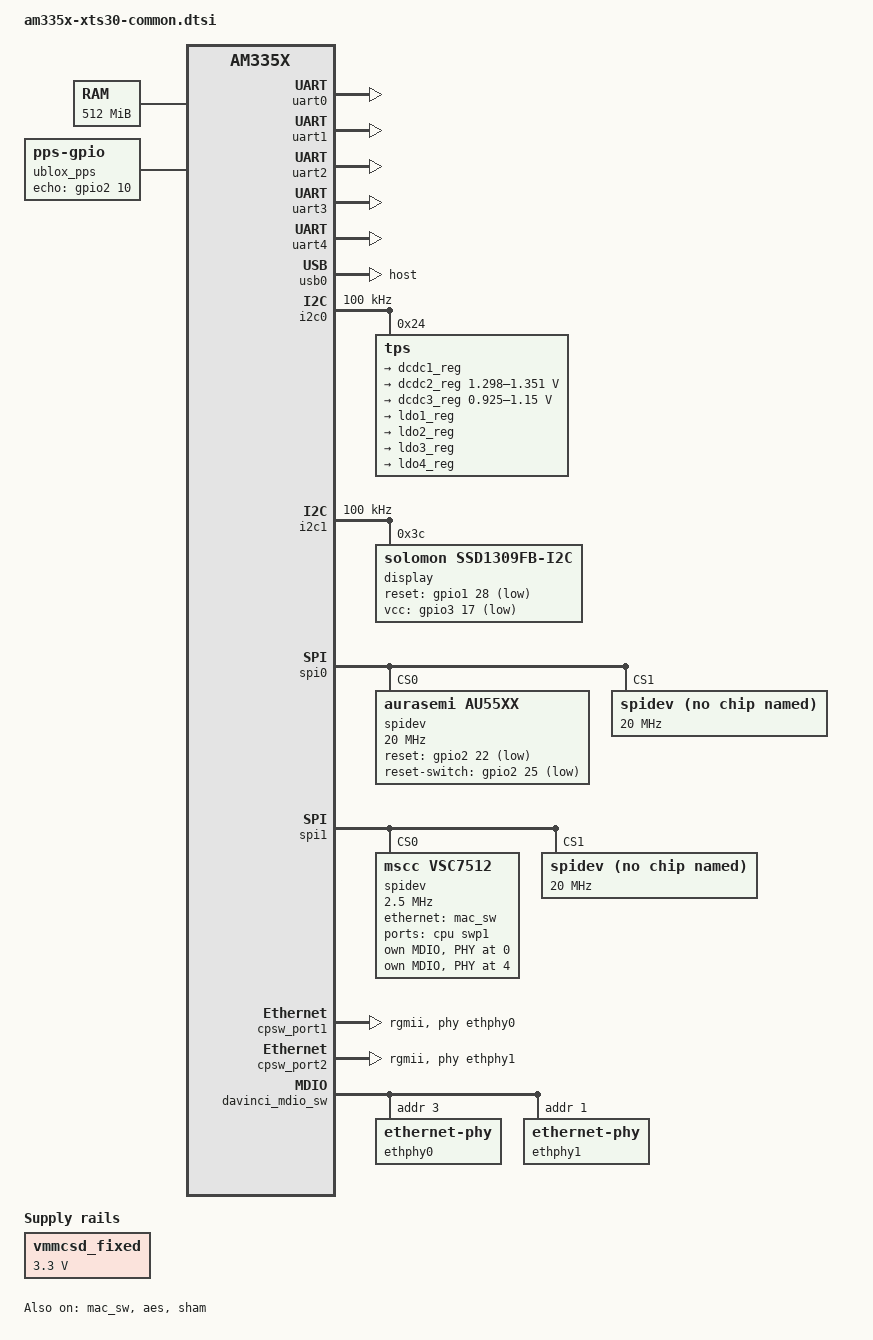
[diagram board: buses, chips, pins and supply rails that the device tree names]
// SPDX-License-Identifier: GPL-2.0-only
/*
 * Copyright (C) 2012 Texas Instruments Incorporated - https://www.ti.com/
 */

/ {
	cpus {
		cpu@0 {
			cpu0-supply = <&dcdc2_reg>;
		};
	};

	memory@80000000 {
		device_type = "memory";
		reg = <0x80000000 0x20000000>; /* 512 MB */
	};

	chosen {
		stdout-path = &uart0;
	};

    ocelot_clock: ocelot-clock {
          compatible = "fixed-clock";
          #clock-cells = <0>;
          clock-frequency = <125000000>;
      };
	  
	vmmcsd_fixed: fixedregulator0 {
		compatible = "regulator-fixed";
		regulator-name = "vmmcsd_fixed";
		regulator-min-microvolt = <3300000>;
		regulator-max-microvolt = <3300000>;
	};
	
	ublox_pps {
		compatible = "pps-gpio";
		pinctrl-names = "default";
		pinctrl-0 = <&pinctrl_pps>;
		echo-gpios = <&gpio2 10 GPIO_ACTIVE_HIGH>;
		status = "okay";
	};
	
#if 0
    ethernet-switch@800000 {
            compatible = "mscc,vsc7512-switch";
            reg = <0x800000 0x290000>;
            little-endian;
            #address-cells = <1>;
            #size-cells = <0>;
				
            ports {
                #address-cells = <1>;
                #size-cells = <0>;
					port@0 {
						reg = <0x0>;
						label = "swp0";
					phy-mode = "internal";
					fixed-link {
						speed = <1000>;
						full-duplex;
						pause;
					};
					};

					port@1 {
						reg = <0x1>;
						label = "swp1";
					phy-mode = "internal";
					fixed-link {
						speed = <1000>;
						full-duplex;
						pause;
					};
					};

					port@2 {
						reg = <0x2>;
						label = "swp2";
					phy-mode = "internal";
					fixed-link {
						speed = <1000>;
						full-duplex;
						pause;
					};
					};

					port@3 {
						reg = <0x3>;
						label = "swp3";
						phy-mode = "internal";
						fixed-link {
							speed = <1000>;
							full-duplex;
							pause;
						};
					};

					port@4 {
						reg = <0x4>;
						label = "swp4";
						phy-mode = "internal";
						fixed-link {
							speed = <1000>;
							full-duplex;
							pause;
						};
					};

					port@5 {
						reg = <0x5>;
						label = "swp5";
						phy-mode = "internal";
						fixed-link {
							speed = <1000>;
							full-duplex;
							pause;
						};
					};

					port@6 {
						reg = <0x6>;
						label = "swp6";
						phy-mode = "internal";
						fixed-link {
							speed = <1000>;
							full-duplex;
							pause;
						};
					};

					port@7 {
						reg = <0x7>;
						label = "swp7";
						phy-mode = "internal";
						fixed-link {
							speed = <1000>;
							full-duplex;
							pause;
						};
					};

					port@8 {
						reg = <0x8>;
						phy-mode = "internal";
						ethernet = <&mac_sw>;

						fixed-link {
							speed = <2500>;
							full-duplex;
						};
					};

					port@9 {
						reg = <0x9>;
						phy-mode = "internal";
						status = "disabled";

						fixed-link {
							speed = <2500>;
							full-duplex;
						};
					};

			};
    };
#endif
#if 0
	ethernet-switch@0 {
		compatible = "mscc,vsc7512-switch";
		ports {
			#address-cells = <1>;
			#size-cells = <0>;
			port@0 {
				reg = <0>;
				label = "cpu";
				status = "okay";
				ethernet = <&mac_sw>;
				phy-handle = <&sw_phy0>;
				phy-mode = "internal";
			};
		port@1 {
				reg = <1>;
				label = "swp1";
				status = "okay";
				//phy-handle = <&sw_phy1>;
				phy-mode = "internal";
				};

		};
	};
#endif


};

&am33xx_pinmux {
	pinctrl-names = "default";
	
	pinctrl_pps: pinmux_pps_pin {
		pinctrl-single,pins = <
			AM33XX_PADCONF(0x908, PIN_INPUT_PULLUP ,MUX_MODE7)	/* xdma_event_intr1.clkout2 */
		>;
	};
	pinctrl_oled: pinctrl_oled {
		pinctrl-single,pins = <
			AM33XX_PADCONF(0x878, PIN_OUTPUT_PULLDOWN ,MUX_MODE7)	/* xdma_event_intr1.clkout2 */
		>;
	};
	i2c0_pins: pinmux_i2c0_pins {
		pinctrl-single,pins = <
			AM33XX_PADCONF(AM335X_PIN_I2C0_SDA, PIN_INPUT_PULLUP, MUX_MODE0)	/* i2c0_sda.i2c0_sda */
			AM33XX_PADCONF(AM335X_PIN_I2C0_SCL, PIN_INPUT_PULLUP, MUX_MODE0)	/* i2c0_scl.i2c0_scl */
		>;
	};

	i2c1_pins: pinmux_i2c1_pins {
		pinctrl-single,pins = <
			AM33XX_PADCONF(AM335X_PIN_MII1_CRS, PIN_INPUT_PULLUP, MUX_MODE3)	/* (H17) gmii1_crs.I2C1_SDA */
			AM33XX_PADCONF(AM335X_PIN_MII1_RX_ER, PIN_INPUT_PULLUP, MUX_MODE3)	/* (J15) gmii1_rxer.I2C1_SCL */
		>;
	};

	uart0_pins: pinmux_uart0_pins {
		pinctrl-single,pins = <
			AM33XX_PADCONF(AM335X_PIN_UART0_RXD, PIN_INPUT_PULLUP, MUX_MODE0)
			AM33XX_PADCONF(AM335X_PIN_UART0_TXD, PIN_OUTPUT_PULLDOWN, MUX_MODE0)
		>;
	};
	
	uart1_pins: pinmux_uart1_pins {
		pinctrl-single,pins = <
			AM33XX_PADCONF(AM335X_PIN_UART1_RXD, PIN_INPUT_PULLUP, MUX_MODE0)              /* (D16) uart1_rxd.uart1_rxd */
			AM33XX_PADCONF(AM335X_PIN_UART1_TXD, PIN_OUTPUT_PULLDOWN, MUX_MODE0)           /* (D15) uart1_txd.uart1_txd */
		>;
	};

	uart2_pins: pinmux_uart2_pins {
		pinctrl-single,pins = <
			AM33XX_PADCONF(AM335X_PIN_MMC0_CLK, PIN_INPUT_PULLUP, MUX_MODE3)                /* (G17) mmc0_clk.uart2_rxd */
			AM33XX_PADCONF(AM335X_PIN_MMC0_CMD, PIN_OUTPUT_PULLDOWN, MUX_MODE3)             /* (G18) mmc0_cmd.uart2_txd */
		>;
	};
	
	uart3_pins: pinmux_uart3_pins {
		pinctrl-single,pins = <
			AM33XX_PADCONF(AM335X_PIN_MMC0_DAT1, PIN_INPUT_PULLUP, MUX_MODE3)              /* (G15) mmc0_dat1.uart3_rxd */
			AM33XX_PADCONF(AM335X_PIN_MMC0_DAT0, PIN_OUTPUT_PULLDOWN, MUX_MODE3)           /* (G16) mmc0_dat0.uart3_txd */
		>;
	};
	
	uart4_pins: pinmux_uart4_pins {
		pinctrl-single,pins = <
			AM33XX_PADCONF(AM335X_PIN_GPMC_WAIT0, PIN_INPUT_PULLUP, MUX_MODE6)
			AM33XX_PADCONF(AM335X_PIN_GPMC_WPN, PIN_OUTPUT_PULLDOWN, MUX_MODE6)
		>;
	};
	
	spi0_pins: spi0_pins {
		pinctrl-single,pins = <
			AM33XX_PADCONF(0x950, PIN_INPUT, MUX_MODE0) /* (A17) spi0_sclk.spi0_sclk */
			AM33XX_PADCONF(0x954, PIN_INPUT, MUX_MODE0) /* (B17) spi0_d0.spi0_d0 */
			AM33XX_PADCONF(0x958, PIN_INPUT, MUX_MODE0) /* (B16) spi0_d1.spi0_d1 */
			AM33XX_PADCONF(0x95c, PIN_INPUT, MUX_MODE0) /* (A16) spi0_cs0.spi0_cs0 */
			AM33XX_PADCONF(0x960, PIN_INPUT, MUX_MODE0) /* (C15) spi0_cs1.spi0_cs1 */
		>;
	};

	spi1_pins: spi1_pins {
		pinctrl-single,pins = <
			AM33XX_PADCONF(0x964, PIN_INPUT, MUX_MODE4) /* (C18) eCAP0_in_PWM0_out.spi1_sclk */
			AM33XX_PADCONF(0x968, PIN_INPUT, MUX_MODE4) /* (E18) uart0_ctsn.spi1_d0 */
			AM33XX_PADCONF(0x96c, PIN_INPUT, MUX_MODE4) /* (E17) uart0_rtsn.spi1_d1 */
			AM33XX_PADCONF(0x978, PIN_INPUT, MUX_MODE4) /* (D18) uart1_ctsn.spi1_cs0 */
			AM33XX_PADCONF(0x97c, PIN_INPUT, MUX_MODE4)	/* (D17) uart1_rtsn.spi1_cs1 */
		>;
	};
	
	
	cpsw_default: cpsw_default {
		pinctrl-single,pins = <
			/* Slave 1 */
			AM33XX_PADCONF(AM335X_PIN_MII1_TX_EN, PIN_OUTPUT_PULLDOWN, MUX_MODE2)                   /* (J16) gmii1_txen.rgmii1_tctl */
			AM33XX_PADCONF(AM335X_PIN_MII1_RX_DV, PIN_INPUT_PULLUP, MUX_MODE2)                /* (J17) gmii1_rxdv.rgmii1_rctl */
			AM33XX_PADCONF(AM335X_PIN_MII1_TX_CLK, PIN_OUTPUT_PULLDOWN, MUX_MODE2)               /* (K18) gmii1_txclk.rgmii1_tclk */
			AM33XX_PADCONF(AM335X_PIN_MII1_RX_CLK, PIN_INPUT_PULLUP, MUX_MODE2)               /* (L18) gmii1_rxclk.rgmii1_rclk */
			AM33XX_PADCONF(AM335X_PIN_MII1_TXD0, PIN_OUTPUT_PULLDOWN, MUX_MODE2)                 /* (K17) gmii1_txd0.rgmii1_td0 */
			AM33XX_PADCONF(AM335X_PIN_MII1_TXD1, PIN_OUTPUT_PULLDOWN, MUX_MODE2)                 /* (K16) gmii1_txd1.rgmii1_td1 */
			AM33XX_PADCONF(AM335X_PIN_MII1_TXD2, PIN_OUTPUT_PULLDOWN, MUX_MODE2)                    /* (K15) gmii1_txd2.rgmii1_td2 */
			AM33XX_PADCONF(AM335X_PIN_MII1_TXD3, PIN_OUTPUT_PULLDOWN, MUX_MODE2)                    /* (J18) gmii1_txd3.rgmii1_td3 */
			AM33XX_PADCONF(AM335X_PIN_MII1_RXD0, PIN_INPUT_PULLUP, MUX_MODE2)                    /* (M16) gmii1_rxd0.rgmii1_rd0 */
			AM33XX_PADCONF(AM335X_PIN_MII1_RXD1, PIN_INPUT_PULLUP, MUX_MODE2)                    /* (L15) gmii1_rxd1.rgmii1_rd1 */
			AM33XX_PADCONF(AM335X_PIN_MII1_RXD2, PIN_INPUT_PULLUP, MUX_MODE2)                    /* (L16) gmii1_rxd2.rgmii1_rd2 */
			AM33XX_PADCONF(AM335X_PIN_MII1_RXD3, PIN_INPUT_PULLUP, MUX_MODE2)                    /* (L17) gmii1_rxd3.rgmii1_rd3 */
			
			/* Slave 2 */
			AM33XX_PADCONF(AM335X_PIN_GPMC_A0, PIN_OUTPUT_PULLDOWN, MUX_MODE2)                   /* (R13) gpmc_a0.rgmii2_tctl */
			AM33XX_PADCONF(AM335X_PIN_GPMC_A1, PIN_INPUT_PULLUP, MUX_MODE2)                      /* (V14) gpmc_a1.rgmii2_rctl */
			AM33XX_PADCONF(AM335X_PIN_GPMC_A6, PIN_OUTPUT_PULLDOWN, MUX_MODE2)               /* (U15) gpmc_a6.rgmii2_tclk */
			AM33XX_PADCONF(AM335X_PIN_GPMC_A7, PIN_INPUT_PULLUP, MUX_MODE2)               /* (T15) gpmc_a7.rgmii2_rclk */
			AM33XX_PADCONF(AM335X_PIN_GPMC_A5, PIN_OUTPUT_PULLDOWN, MUX_MODE2)                /* (V15) gpmc_a5.rgmii2_td0 */
			AM33XX_PADCONF(AM335X_PIN_GPMC_A4, PIN_OUTPUT_PULLDOWN, MUX_MODE2)                 /* (R14) gpmc_a4.rgmii2_td1 */
			AM33XX_PADCONF(AM335X_PIN_GPMC_A3, PIN_OUTPUT_PULLDOWN, MUX_MODE2)                    /* (T14) gpmc_a3.rgmii2_td2 */
			AM33XX_PADCONF(AM335X_PIN_GPMC_A2, PIN_OUTPUT_PULLDOWN, MUX_MODE2)                    /* (U14) gpmc_a2.rgmii2_td3 */
			AM33XX_PADCONF(AM335X_PIN_GPMC_A11, PIN_INPUT_PULLUP, MUX_MODE2)                    /* (V17) gpmc_a11.rgmii2_rd0 */
			AM33XX_PADCONF(AM335X_PIN_GPMC_A10, PIN_INPUT_PULLUP, MUX_MODE2)                    /* (T16) gpmc_a10.rgmii2_rd1 */
			AM33XX_PADCONF(AM335X_PIN_GPMC_A9, PIN_INPUT_PULLUP, MUX_MODE2)                    /* (U16) gpmc_a9.rgmii2_rd2 */
			AM33XX_PADCONF(AM335X_PIN_GPMC_A8, PIN_INPUT_PULLUP, MUX_MODE2)                    /* (V16) gpmc_a8.rgmii2_rd3 */
		>;
	};

	cpsw_sleep: cpsw_sleep {
		pinctrl-single,pins = <
			/* Slave 1 */
			AM33XX_PADCONF(AM335X_PIN_MII1_TX_EN, PIN_INPUT_PULLDOWN, MUX_MODE7)                   /* (J16) gmii1_txen.rgmii1_tctl */
			AM33XX_PADCONF(AM335X_PIN_MII1_RX_DV, PIN_INPUT_PULLDOWN, MUX_MODE7)                /* (J17) gmii1_rxdv.rgmii1_rctl */
			AM33XX_PADCONF(AM335X_PIN_MII1_TX_CLK, PIN_INPUT_PULLDOWN, MUX_MODE7)               /* (K18) gmii1_txclk.rgmii1_tclk */
			AM33XX_PADCONF(AM335X_PIN_MII1_RX_CLK, PIN_INPUT_PULLDOWN, MUX_MODE7)               /* (L18) gmii1_rxclk.rgmii1_rclk */
			AM33XX_PADCONF(AM335X_PIN_MII1_TXD0, PIN_INPUT_PULLDOWN, MUX_MODE7)                 /* (K17) gmii1_txd0.rgmii1_td0 */
			AM33XX_PADCONF(AM335X_PIN_MII1_TXD1, PIN_INPUT_PULLDOWN, MUX_MODE7)                 /* (K16) gmii1_txd1.rgmii1_td1 */
			AM33XX_PADCONF(AM335X_PIN_MII1_TXD2, PIN_INPUT_PULLDOWN, MUX_MODE7)                    /* (K15) gmii1_txd2.rgmii1_td2 */
			AM33XX_PADCONF(AM335X_PIN_MII1_TXD3, PIN_INPUT_PULLDOWN, MUX_MODE7)                    /* (J18) gmii1_txd3.rgmii1_td3 */
			AM33XX_PADCONF(AM335X_PIN_MII1_RXD0, PIN_INPUT_PULLDOWN, MUX_MODE7)                    /* (M16) gmii1_rxd0.rgmii1_rd0 */
			AM33XX_PADCONF(AM335X_PIN_MII1_RXD1, PIN_INPUT_PULLDOWN, MUX_MODE7)                    /* (L15) gmii1_rxd1.rgmii1_rd1 */
			AM33XX_PADCONF(AM335X_PIN_MII1_RXD2, PIN_INPUT_PULLDOWN, MUX_MODE7)                    /* (L16) gmii1_rxd2.rgmii1_rd2 */
			AM33XX_PADCONF(AM335X_PIN_MII1_RXD3, PIN_INPUT_PULLDOWN, MUX_MODE7)                    /* (L17) gmii1_rxd3.rgmii1_rd3 */
			
			/* Slave 2 */
			AM33XX_PADCONF(AM335X_PIN_GPMC_A0, PIN_INPUT_PULLDOWN, MUX_MODE7)                   /* (R13) gpmc_a0.rgmii2_tctl */
			AM33XX_PADCONF(AM335X_PIN_GPMC_A1, PIN_INPUT_PULLDOWN, MUX_MODE7)                      /* (V14) gpmc_a1.rgmii2_rctl */
			AM33XX_PADCONF(AM335X_PIN_GPMC_A6, PIN_INPUT_PULLDOWN, MUX_MODE7)               /* (U15) gpmc_a6.rgmii2_tclk */
			AM33XX_PADCONF(AM335X_PIN_GPMC_A7, PIN_INPUT_PULLDOWN, MUX_MODE7)               /* (T15) gpmc_a7.rgmii2_rclk */
			AM33XX_PADCONF(AM335X_PIN_GPMC_A5, PIN_INPUT_PULLDOWN, MUX_MODE7)                /* (V15) gpmc_a5.rgmii2_td0 */
			AM33XX_PADCONF(AM335X_PIN_GPMC_A4, PIN_INPUT_PULLDOWN, MUX_MODE7)                 /* (R14) gpmc_a4.rgmii2_td1 */
			AM33XX_PADCONF(AM335X_PIN_GPMC_A3, PIN_INPUT_PULLDOWN, MUX_MODE7)                    /* (T14) gpmc_a3.rgmii2_td2 */
			AM33XX_PADCONF(AM335X_PIN_GPMC_A2, PIN_INPUT_PULLDOWN, MUX_MODE7)                    /* (U14) gpmc_a2.rgmii2_td3 */
			AM33XX_PADCONF(AM335X_PIN_GPMC_A11, PIN_INPUT_PULLDOWN, MUX_MODE7)                    /* (V17) gpmc_a11.rgmii2_rd0 */
			AM33XX_PADCONF(AM335X_PIN_GPMC_A10, PIN_INPUT_PULLDOWN, MUX_MODE7)                    /* (T16) gpmc_a10.rgmii2_rd1 */
			AM33XX_PADCONF(AM335X_PIN_GPMC_A9, PIN_INPUT_PULLDOWN, MUX_MODE7)                    /* (U16) gpmc_a9.rgmii2_rd2 */
			AM33XX_PADCONF(AM335X_PIN_GPMC_A8, PIN_INPUT_PULLDOWN, MUX_MODE7)                    /* (V16) gpmc_a8.rgmii2_rd3 */
		>;
	};

	davinci_mdio_default: davinci_mdio_default {
		pinctrl-single,pins = <
			/* MDIO */
			AM33XX_PADCONF(AM335X_PIN_MDIO, PIN_INPUT_PULLUP | SLEWCTRL_FAST, MUX_MODE0)
			AM33XX_PADCONF(AM335X_PIN_MDC, PIN_OUTPUT_PULLUP, MUX_MODE0)
		>;
	};

	davinci_mdio_sleep: davinci_mdio_sleep {
		pinctrl-single,pins = <
			/* MDIO reset value */
			AM33XX_PADCONF(AM335X_PIN_MDIO, PIN_INPUT_PULLDOWN, MUX_MODE7)
			AM33XX_PADCONF(AM335X_PIN_MDC, PIN_INPUT_PULLDOWN, MUX_MODE7)
		>;
	};

	emmc_pins: pinmux_emmc_pins {
		pinctrl-single,pins = <
			AM33XX_PADCONF(AM335X_PIN_GPMC_CSN1, PIN_INPUT_PULLUP, MUX_MODE2)   /* (U9) gpmc_csn1.mmc1_clk */
			AM33XX_PADCONF(AM335X_PIN_GPMC_CSN2, PIN_INPUT_PULLUP, MUX_MODE2)   /* (V9) gpmc_csn2.mmc1_cmd */
			AM33XX_PADCONF(AM335X_PIN_GPMC_AD0, PIN_INPUT_PULLUP, MUX_MODE1)    /* (U10) gpmc_ad8.mmc1_dat0 */
			AM33XX_PADCONF(AM335X_PIN_GPMC_AD1, PIN_INPUT_PULLUP, MUX_MODE1)    /* (T10) gpmc_ad9.mmc1_dat1 */
			AM33XX_PADCONF(AM335X_PIN_GPMC_AD2, PIN_INPUT_PULLUP, MUX_MODE1)   /* (T11) gpmc_ad10.mmc1_dat2 */
			AM33XX_PADCONF(AM335X_PIN_GPMC_AD3, PIN_INPUT_PULLUP, MUX_MODE1)   /* (U12) gpmc_ad11.mmc1_dat3 */
			
#if 0
			AM33XX_PADCONF(AM335X_PIN_GPMC_AD12, PIN_INPUT_PULLUP, MUX_MODE2)   /* (T12) gpmc_ad12.mmc1_dat4 */
			AM33XX_PADCONF(AM335X_PIN_GPMC_AD13, PIN_INPUT_PULLUP, MUX_MODE2)   /* (R12) gpmc_ad13.mmc1_dat5 */
			AM33XX_PADCONF(AM335X_PIN_GPMC_AD14, PIN_INPUT_PULLUP, MUX_MODE2)   /* (V13) gpmc_ad14.mmc1_dat6 */
			AM33XX_PADCONF(AM335X_PIN_GPMC_AD15, PIN_INPUT_PULLUP, MUX_MODE2)   /* (U13) gpmc_ad15.mmc1_dat7 */
#endif
		>;
	};
};

&uart0 {
	pinctrl-names = "default";
	pinctrl-0 = <&uart0_pins>;

	status = "okay";
};

&uart1 {
	pinctrl-names = "default";
	pinctrl-0 = <&uart1_pins>;

	status = "okay";
};

&uart2 {
	pinctrl-names = "default";
	pinctrl-0 = <&uart2_pins>;

	status = "okay";
};

&uart3 {
	pinctrl-names = "default";
	pinctrl-0 = <&uart3_pins>;

	status = "okay";
};

&uart4 {
	pinctrl-names = "default";
	pinctrl-0 = <&uart4_pins>;

	status = "okay";
};


&usb0 {
	dr_mode = "host";
};

&i2c0 {
	pinctrl-names = "default";
	pinctrl-0 = <&i2c0_pins>;

	status = "okay";
	clock-frequency = <100000>;

	tps: tps@24 {
		reg = <0x24>;
	};
};

&i2c1 {
	pinctrl-names = "default";
	pinctrl-0 = <&i2c1_pins>;
	pinctrl-1 = <&pinctrl_oled>;
	status = "okay";
	clock-frequency = <100000>;
	/* osd9616p0899-10 */
	display@3c {
		compatible = "solomon,ssd1309fb-i2c";
		reg = <0x3c>;
		reset-gpios = <&gpio1 28 GPIO_ACTIVE_LOW>;
		vcc-gpios = <&gpio3 17 GPIO_ACTIVE_LOW>;
		solomon,height = <64>;
		solomon,width = <128>;
		solomon,com-seq;
		solomon,com-invdir;
		solomon,page-offset = <0>;
		solomon,prechargep1 = <2>;
		solomon,prechargep2 = <13>;
	};
};

&spi0 {
	status = "okay";
	pinctrl-names = "default";
	pinctrl-0 = <&spi0_pins>;
    spidev@0 {
	     compatible = "aurasemi,au55xx";
         spi-max-frequency = <20000000>;
         reg = <0>;
		reset-gpios = <&gpio2 22 GPIO_ACTIVE_LOW>;
		reset-switch-gpios = <&gpio2 25 GPIO_ACTIVE_LOW>;
	};
    spidev@1 {
	     compatible = "rohm,dh2228fv";
         spi-max-frequency = <20000000>;
         reg = <1>;
	};

};


&spi1 {
	status = "okay";
	pinctrl-names = "default";
	pinctrl-0 = <&spi1_pins>;
    spidev@0 {
            compatible = "mscc,vsc7512";
            spi-max-frequency = <2500000>;
            reg = <0>;
            #address-cells = <1>;
            #size-cells = <1>;

            mdio@7107009c {
                compatible = "mscc,ocelot-miim";
                #address-cells = <1>;
                #size-cells = <0>;
                reg = <0x7107009c 0x24>;

                sw_phy0: ethernet-phy@0 {
                    reg = <0x0>;
                };
            };

            mdio@710700c0 {
                compatible = "mscc,ocelot-miim";
                pinctrl-names = "default";
                pinctrl-0 = <&miim1_pins>;
                #address-cells = <1>;
                #size-cells = <0>;
                reg = <0x710700c0 0x24>;

                sw_phy4: ethernet-phy@4 {
                    reg = <0x4>;
                };
            };

            gpio: pinctrl@71070034 {
                compatible = "mscc,ocelot-pinctrl";
                gpio-controller;
                #gpio-cells = <2>;
                gpio-ranges = <&gpio 0 0 22>;
                reg = <0x71070034 0x6c>;

                sgpio_pins: sgpio-pins {
                    pins = "GPIO_0", "GPIO_1", "GPIO_2", "GPIO_3";
                    function = "sg0";
                };

                miim1_pins: miim1-pins {
                    pins = "GPIO_14", "GPIO_15";
                    function = "miim";
                };
            };

            gpio@710700f8 {
                compatible = "mscc,ocelot-sgpio";
                #address-cells = <1>;
                #size-cells = <0>;
                bus-frequency = <12500000>;
                clocks = <&ocelot_clock>;
                microchip,sgpio-port-ranges = <0 15>;
                pinctrl-names = "default";
                pinctrl-0 = <&sgpio_pins>;
                reg = <0x710700f8 0x100>;

                sgpio_in0: gpio@0 {
                    compatible = "microchip,sparx5-sgpio-bank";
                    reg = <0>;
                    gpio-controller;
                    #gpio-cells = <3>;
                    ngpios = <64>;
                };

                sgpio_out1: gpio@1 {
                    compatible = "microchip,sparx5-sgpio-bank";
                    reg = <1>;
                    gpio-controller;
                    #gpio-cells = <3>;
                    ngpios = <64>;
                };
            };
			ethernet-switch@0 {
				compatible = "mscc,vsc7512-switch";
				reg = <0x71010000 0x10000>,
						<0x71030000 0x10000>,
						<0x71080000 0x100>,
						<0x710e0000 0x10000>,
						<0x711e0000 0x100>,
						<0x711f0000 0x100>,
						<0x71200000 0x100>,
						<0x71210000 0x100>,
						<0x71220000 0x100>,
						<0x71230000 0x100>,
						<0x71240000 0x100>,
						<0x71250000 0x100>,
						<0x71260000 0x100>,
						<0x71270000 0x100>,
						<0x71280000 0x100>,
						<0x71800000 0x80000>,
						<0x71880000 0x10000>,
						<0x71040000 0x10000>,
						<0x71050000 0x10000>,
						<0x71060000 0x10000>;
						reg-names = "sys", "rew", "qs", "ptp", "port0", "port1",
						"port2", "port3", "port4", "port5", "port6",
						"port7", "port8", "port9", "port10", "qsys",
						"ana", "s0", "s1", "s2";
				ports {
					#address-cells = <1>;
					#size-cells = <0>;
					port@0 {
						reg = <0>;
						label = "cpu";
						status = "okay";
						ethernet = <&mac_sw>;
						phy-handle = <&sw_phy0>;
						phy-mode = "internal";
					};
					port@1 {
						reg = <1>;
						label = "swp1";
						phy-mode = "internal";
						fixed-link {
						speed = <1000>;
						full-duplex;
						pause;
							
						};
					};	
				};
			};
	};
    spidev@1 {
			 compatible = "rohm,dh2228fv";
			 spi-max-frequency = <20000000>;
			 reg = <1>;


	
	};

};
/include/ "tps65217.dtsi"

&tps {
	/*
	 * Configure pmic to enter OFF-state instead of SLEEP-state ("RTC-only
	 * mode") at poweroff.  Most BeagleBone versions do not support RTC-only
	 * mode and risk hardware damage if this mode is entered.
	 *
	 * For details, see linux-omap mailing list May 2015 thread
	 *	[PATCH] ARM: dts: am335x-bone* enable pmic-shutdown-controller
	 * In particular, messages:
	 *	http://www.spinics.net/lists/linux-omap/msg118585.html
	 *	http://www.spinics.net/lists/linux-omap/msg118615.html
	 *
	 * You can override this later with
	 *	&tps {  /delete-property/ ti,pmic-shutdown-controller;  }
	 * if you want to use RTC-only mode and made sure you are not affected
	 * by the hardware problems. (Tip: double-check by performing a current
	 * measurement after shutdown: it should be less than 1 mA.)
	 */

	interrupts = <7>; /* NMI */
	interrupt-parent = <&intc>;

	ti,pmic-shutdown-controller;

	charger {
		status = "okay";
	};

	pwrbutton {
		status = "okay";
	};

	regulators {
		dcdc1_reg: regulator@0 {
			regulator-name = "vdds_dpr";
			regulator-always-on;
		};

		dcdc2_reg: regulator@1 {
			/* VDD_MPU voltage limits 0.95V - 1.26V with +/-4% tolerance */
			regulator-name = "vdd_mpu";
			regulator-min-microvolt = <1298500>;
			regulator-max-microvolt = <1351500>;
			regulator-boot-on;
			regulator-always-on;
		};

		dcdc3_reg: regulator@2 {
			/* VDD_CORE voltage limits 0.95V - 1.1V with +/-4% tolerance */
			regulator-name = "vdd_core";
			regulator-min-microvolt = <925000>;
			regulator-max-microvolt = <1150000>;
			regulator-boot-on;
			regulator-always-on;
		};

		ldo1_reg: regulator@3 {
			regulator-name = "vio,vrtc,vdds";
			regulator-always-on;
		};

		ldo2_reg: regulator@4 {
			regulator-name = "vdd_3v3aux";
			regulator-always-on;
		};

		ldo3_reg: regulator@5 {
			regulator-name = "vdd_1v8";
			regulator-always-on;
		};

		ldo4_reg: regulator@6 {
			regulator-name = "vdd_3v3a";
			regulator-always-on;
		};
	};
};

&cpsw_port1 {
	phy-handle = <&ethphy0>;
	phy-mode = "rgmii";
	ti,dual-emac-pvid = <1>;
	local-mac-address = [00 04 9F 03 EC AF];

};

&cpsw_port2 {
	phy-handle = <&ethphy1>;
	phy-mode = "rgmii";
	ti,dual-emac-pvid = <2>;
};

&mac_sw {
	pinctrl-names = "default", "sleep";
	pinctrl-0 = <&cpsw_default>;
	pinctrl-1 = <&cpsw_sleep>;
	dual_emac = <1>;
	status = "okay";
};

&davinci_mdio_sw {
	pinctrl-names = "default", "sleep";
	pinctrl-0 = <&davinci_mdio_default>;
	pinctrl-1 = <&davinci_mdio_sleep>;

	ethphy0: ethernet-phy@3 {
		reg = <3>;
	};
	
	ethphy1: ethernet-phy@1 {
		reg = <1>;
	};
};

&aes {
	status = "okay";
};

&sham {
	status = "okay";
};

&rtc {
	clocks = <&clk_32768_ck>, <&clk_24mhz_clkctrl AM3_CLK_24MHZ_CLKDIV32K_CLKCTRL 0>;
	clock-names = "ext-clk", "int-clk";
};
